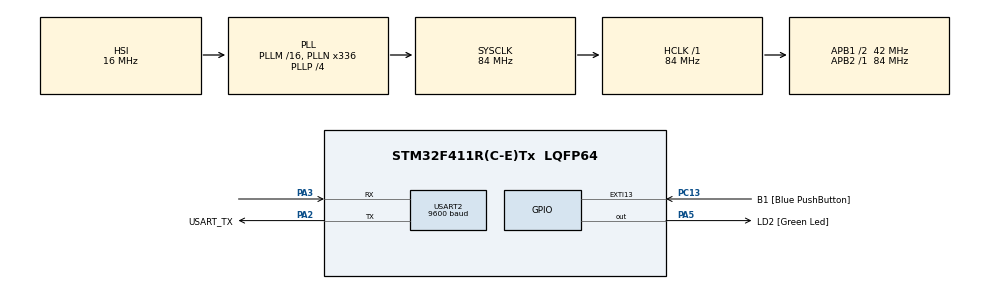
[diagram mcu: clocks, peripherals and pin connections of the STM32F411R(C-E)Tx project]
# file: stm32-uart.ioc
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Mcu.Family=STM32F4
Mcu.Name=STM32F411R(C-E)Tx
Mcu.Package=LQFP64
NVIC.PriorityGroup=NVIC_PRIORITYGROUP_0
PA13.GPIO_Label=TMS
PA13.Signal=SYS_JTMS-SWDIO
PA14.GPIO_Label=TCK
PA14.Signal=SYS_JTCK-SWCLK
PA2.GPIO_Label=USART_TX
PA2.Mode=Asynchronous
PA2.Signal=USART2_TX
PA3.Mode=Asynchronous
PA3.Signal=USART2_RX
PA5.GPIO_Label=LD2 [Green Led]
PA5.Signal=GPIO_Output
PB3.GPIO_Label=SWO
PB3.Signal=SYS_JTDO-SWO
PC13-ANTI_TAMP.GPIO_Label=B1 [Blue PushButton]
PC13-ANTI_TAMP.GPIO_ModeDefaultEXTI=GPIO_MODE_IT_FALLING
PC13-ANTI_TAMP.Signal=GPXTI13
PC14-OSC32_IN.Signal=RCC_OSC32_IN
PC15-OSC32_OUT.Signal=RCC_OSC32_OUT
PH0\ -\ OSC_IN.Signal=RCC_OSC_IN
PH1\ -\ OSC_OUT.Signal=RCC_OSC_OUT
ProjectManager.HeapSize=0x200
ProjectManager.StackSize=0x400
ProjectManager.TargetToolchain=Makefile
RCC.48MHZClocksFreq_Value=84000000
RCC.AHBFreq_Value=84000000
RCC.APB1CLKDivider=RCC_HCLK_DIV2
RCC.APB1Freq_Value=42000000
RCC.APB1TimFreq_Value=84000000
RCC.APB2Freq_Value=84000000
RCC.APB2TimFreq_Value=84000000
RCC.CortexFreq_Value=84000000
RCC.FLatency-AdvancedSettings=FLASH_LATENCY_2
RCC.HCLKFreq_Value=84000000
RCC.HSE_VALUE=8000000
RCC.HSI_VALUE=16000000
RCC.LSE_VALUE=32768
RCC.PLLN=336
RCC.PLLP=RCC_PLLP_DIV4
RCC.SYSCLKFreq_VALUE=84000000
RCC.SYSCLKSource=RCC_SYSCLKSOURCE_PLLCLK
RCC.VCOOutputFreq_Value=336000000
USART2.BaudRate=9600
USART2.VirtualMode=VM_ASYNC
board=NUCLEO-F411RE

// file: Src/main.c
/**
  ******************************************************************************
  * File Name          : main.c
  * Description        : Main program body
  ******************************************************************************
  ** This notice applies to any and all portions of this file
  * that are not between comment pairs USER CODE BEGIN and
  * USER CODE END. Other portions of this file, whether
  * inserted by the user or by software development tools
  * are owned by their respective copyright owners.
  *
  * COPYRIGHT(c) 2018 STMicroelectronics
  *
  * Redistribution and use in source and binary forms, with or without modification,
  * are permitted provided that the following conditions are met:
  *   1. Redistributions of source code must retain the above copyright notice,
  *      this list of conditions and the following disclaimer.
  *   2. Redistributions in binary form must reproduce the above copyright notice,
  *      this list of conditions and the following disclaimer in the documentation
  *      and/or other materials provided with the distribution.
  *   3. Neither the name of STMicroelectronics nor the names of its contributors
  *      may be used to endorse or promote products derived from this software
  *      without specific prior written permission.
  *
  * THIS SOFTWARE IS PROVIDED BY THE COPYRIGHT HOLDERS AND CONTRIBUTORS "AS IS"
  * AND ANY EXPRESS OR IMPLIED WARRANTIES, INCLUDING, BUT NOT LIMITED TO, THE
  * IMPLIED WARRANTIES OF MERCHANTABILITY AND FITNESS FOR A PARTICULAR PURPOSE ARE
  * DISCLAIMED. IN NO EVENT SHALL THE COPYRIGHT HOLDER OR CONTRIBUTORS BE LIABLE
  * FOR ANY DIRECT, INDIRECT, INCIDENTAL, SPECIAL, EXEMPLARY, OR CONSEQUENTIAL
  * DAMAGES (INCLUDING, BUT NOT LIMITED TO, PROCUREMENT OF SUBSTITUTE GOODS OR
  * SERVICES; LOSS OF USE, DATA, OR PROFITS; OR BUSINESS INTERRUPTION) HOWEVER
  * CAUSED AND ON ANY THEORY OF LIABILITY, WHETHER IN CONTRACT, STRICT LIABILITY,
  * OR TORT (INCLUDING NEGLIGENCE OR OTHERWISE) ARISING IN ANY WAY OUT OF THE USE
  * OF THIS SOFTWARE, EVEN IF ADVISED OF THE POSSIBILITY OF SUCH DAMAGE.
  *
  ******************************************************************************
  */

#include "main.h"
#include "stm32f4xx_hal.h"
#include <string.h>

UART_HandleTypeDef huart2;

/* USER CODE BEGIN PV */
/* Private variables ---------------------------------------------------------*/

/* USER CODE END PV */

void SystemClock_Config(void);
static void MX_GPIO_Init(void);
static void MX_USART2_UART_Init(void);

/* USER CODE BEGIN PFP */
/* Private function prototypes -----------------------------------------------*/

/* USER CODE END PFP */

/* USER CODE BEGIN 0 */

HAL_StatusTypeDef HAL_UART_ReceiveString(
        UART_HandleTypeDef *huart, uint8_t *pData,
        uint16_t Size, uint32_t Timeout) {
    const char newline[] = "\r\n";
    const char delete[] = "\x08 \x08";
    HAL_StatusTypeDef status;

    if(Size == 0)
        return HAL_ERROR;

    int i = 0;
    for(;;) {
        status = HAL_UART_Receive(huart, &pData[i], 1, Timeout);
        if(status != HAL_OK)
            return status;

        if((pData[i] == '\x08')||(pData[i] == '\x7F')) { // backspace
            if(i > 0) {
                status = HAL_UART_Transmit(huart, (uint8_t*)delete,
                                           sizeof(delete)-1, Timeout);
                if(status != HAL_OK)
                    return status;
                i--;
            }
            continue;
        }

        if((pData[i] == '\r') || (pData[i] == '\n')) {
            pData[i] = '\0';
            status = HAL_UART_Transmit(huart, (uint8_t*)newline,
                                       sizeof(newline)-1, Timeout);
            if(status != HAL_OK)
                return status;
            break;
        }

        // last character is reserved for '\0', ignore
        if(i == (Size-1))
            continue;

        status = HAL_UART_Transmit(huart, &pData[i], 1, Timeout);
        if(status != HAL_OK)
            return status;
        i++;
    }

    return HAL_OK;
}

void error(void) {
    HAL_Delay(HAL_MAX_DELAY);
}

void init(void) {
    const char ready[] = "Ready!\r\n";
    HAL_UART_Transmit(&huart2, (uint8_t*)ready,
                      sizeof(ready)-1, HAL_MAX_DELAY);
}

void loop(void) {
    HAL_StatusTypeDef status;
    const char question[] = "What is your name?\r\n";
    char answer[256];
    char name[32];

    status = HAL_UART_Transmit(&huart2, (uint8_t*)question,
                               sizeof(question)-1, HAL_MAX_DELAY);
    if(status != HAL_OK)
        error();

    status = HAL_UART_ReceiveString(&huart2, (uint8_t*)name,
                                    sizeof(name), HAL_MAX_DELAY);
    if(status != HAL_OK)
        error();

    int code = snprintf(answer, sizeof(answer),
                        "Hello, %s!\r\n", name);
    if(code < 0)
        error();

    status = HAL_UART_Transmit(&huart2, (uint8_t*)answer,
                               strlen(answer), HAL_MAX_DELAY);
    if(status != HAL_OK)
        error();

    HAL_Delay(100);
}
/* USER CODE END 0 */

int main(void)
{

  /* MCU Configuration----------------------------------------------------------*/

  /* Reset of all peripherals, Initializes the Flash interface and the Systick. */
  HAL_Init();

  /* Configure the system clock */
  SystemClock_Config();

  /* Initialize all configured peripherals */
  MX_GPIO_Init();
  MX_USART2_UART_Init();

  /* Infinite loop */
  /* USER CODE BEGIN WHILE */
  init();
  while (1)
  {
  /* USER CODE END WHILE */

  /* USER CODE BEGIN 3 */
    loop();
  }
  /* USER CODE END 3 */

}

/** System Clock Configuration
*/
void SystemClock_Config(void)
{

  RCC_OscInitTypeDef RCC_OscInitStruct;
  RCC_ClkInitTypeDef RCC_ClkInitStruct;

    /**Configure the main internal regulator output voltage
    */
  __HAL_RCC_PWR_CLK_ENABLE();

  __HAL_PWR_VOLTAGESCALING_CONFIG(PWR_REGULATOR_VOLTAGE_SCALE1);

    /**Initializes the CPU, AHB and APB busses clocks
    */
  RCC_OscInitStruct.OscillatorType = RCC_OSCILLATORTYPE_HSI;
  RCC_OscInitStruct.HSIState = RCC_HSI_ON;
  RCC_OscInitStruct.HSICalibrationValue = 16;
  RCC_OscInitStruct.PLL.PLLState = RCC_PLL_ON;
  RCC_OscInitStruct.PLL.PLLSource = RCC_PLLSOURCE_HSI;
  RCC_OscInitStruct.PLL.PLLM = 16;
  RCC_OscInitStruct.PLL.PLLN = 336;
  RCC_OscInitStruct.PLL.PLLP = RCC_PLLP_DIV4;
  RCC_OscInitStruct.PLL.PLLQ = 4;
  if (HAL_RCC_OscConfig(&RCC_OscInitStruct) != HAL_OK)
  {
    _Error_Handler(__FILE__, __LINE__);
  }

    /**Initializes the CPU, AHB and APB busses clocks
    */
  RCC_ClkInitStruct.ClockType = RCC_CLOCKTYPE_HCLK|RCC_CLOCKTYPE_SYSCLK
                              |RCC_CLOCKTYPE_PCLK1|RCC_CLOCKTYPE_PCLK2;
  RCC_ClkInitStruct.SYSCLKSource = RCC_SYSCLKSOURCE_PLLCLK;
  RCC_ClkInitStruct.AHBCLKDivider = RCC_SYSCLK_DIV1;
  RCC_ClkInitStruct.APB1CLKDivider = RCC_HCLK_DIV2;
  RCC_ClkInitStruct.APB2CLKDivider = RCC_HCLK_DIV1;

  if (HAL_RCC_ClockConfig(&RCC_ClkInitStruct, FLASH_LATENCY_2) != HAL_OK)
  {
    _Error_Handler(__FILE__, __LINE__);
  }

    /**Configure the Systick interrupt time
    */
  HAL_SYSTICK_Config(HAL_RCC_GetHCLKFreq()/1000);

    /**Configure the Systick
    */
  HAL_SYSTICK_CLKSourceConfig(SYSTICK_CLKSOURCE_HCLK);

  /* SysTick_IRQn interrupt configuration */
  HAL_NVIC_SetPriority(SysTick_IRQn, 0, 0);
}

/* USART2 init function */
static void MX_USART2_UART_Init(void)
{

  huart2.Instance = USART2;
  huart2.Init.BaudRate = 9600;
  huart2.Init.WordLength = UART_WORDLENGTH_8B;
  huart2.Init.StopBits = UART_STOPBITS_1;
  huart2.Init.Parity = UART_PARITY_NONE;
  huart2.Init.Mode = UART_MODE_TX_RX;
  huart2.Init.HwFlowCtl = UART_HWCONTROL_NONE;
  huart2.Init.OverSampling = UART_OVERSAMPLING_16;
  if (HAL_UART_Init(&huart2) != HAL_OK)
  {
    _Error_Handler(__FILE__, __LINE__);
  }

}

/** Configure pins as
        * Analog
        * Input
        * Output
        * EVENT_OUT
        * EXTI
*/
static void MX_GPIO_Init(void)
{

  GPIO_InitTypeDef GPIO_InitStruct;

  /* GPIO Ports Clock Enable */
  __HAL_RCC_GPIOC_CLK_ENABLE();
  __HAL_RCC_GPIOH_CLK_ENABLE();
  __HAL_RCC_GPIOA_CLK_ENABLE();
  __HAL_RCC_GPIOB_CLK_ENABLE();

  /*Configure GPIO pin Output Level */
  HAL_GPIO_WritePin(LD2_GPIO_Port, LD2_Pin, GPIO_PIN_RESET);

  /*Configure GPIO pin : B1_Pin */
  GPIO_InitStruct.Pin = B1_Pin;
  GPIO_InitStruct.Mode = GPIO_MODE_IT_FALLING;
  GPIO_InitStruct.Pull = GPIO_NOPULL;
  HAL_GPIO_Init(B1_GPIO_Port, &GPIO_InitStruct);

  /*Configure GPIO pin : LD2_Pin */
  GPIO_InitStruct.Pin = LD2_Pin;
  GPIO_InitStruct.Mode = GPIO_MODE_OUTPUT_PP;
  GPIO_InitStruct.Pull = GPIO_NOPULL;
  GPIO_InitStruct.Speed = GPIO_SPEED_FREQ_LOW;
  HAL_GPIO_Init(LD2_GPIO_Port, &GPIO_InitStruct);

}

void _Error_Handler(char * file, int line)
{
  while(1)
  {
  }
}

/************************ (C) COPYRIGHT STMicroelectronics *****END OF FILE****/
